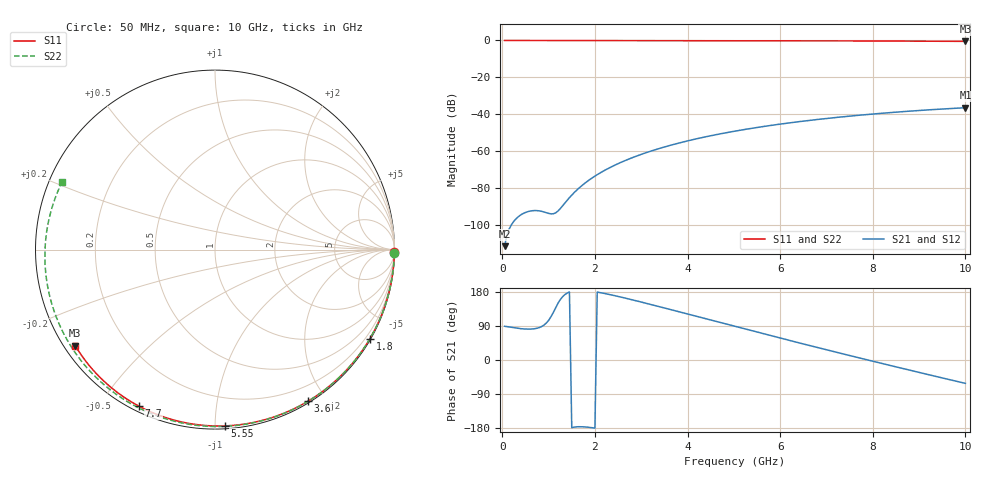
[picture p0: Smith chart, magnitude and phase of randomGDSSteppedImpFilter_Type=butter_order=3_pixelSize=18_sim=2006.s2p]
! freq	dB(S11)	phase(S11)	dB(S12)	phase(S12)
!  dB(S21)	phase(S21)	dB(S22)	phase(S22)
!S-par simulation data
#  GHz  S  DB  R 50
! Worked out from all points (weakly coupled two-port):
!   200 points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, 50 MHz to 10 GHz, reference 50 ohm
!   highest |S21| = -36.49 dB at 10 GHz (marker M1); lowest = -111.6 dB at 50 MHz (marker M2)
!   lowest |S11| = -0.5 dB at 10 GHz (marker M3), VSWR 35.31, Z = 1.55 - j15.5 ohm
!   |S11| at or under -10 dB: nowhere
!   |S22| runs from -0.6 to 0.0 dB; largest |S21 - S12| = 0
!   S11 on the Smith chart (normalised r, x): 50 MHz: open; 1.8 GHz: 0.03, -3.74; 3.6 GHz: 0.02, -1.79; 5.55 GHz: 0.02, -1.06; 7.7 GHz: 0.02, -0.63; 10 GHz: 0.03, -0.31
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0.05  -0.00 -0.9  -111.57 89.1  -111.57 89.1  -0.00 -1.2
0.4  -0.01 -6.7  -94.59 82.6  -94.59 82.6  -0.01 -9.4
0.8  -0.02 -13.4  -92.44 85.6  -92.44 85.6  -0.02 -18.7
1.2  -0.03 -20.1  -92.57 149.1  -92.57 149.1  -0.04 -28.0
1.65  -0.03 -27.5  -80.19 -176.1  -80.19 -176.1  -0.05 -38.2
1.75  -0.04 -29.1  -78.06 -176.3  -78.06 -176.3  -0.05 -40.5
1.8  -0.04 -29.9  -77.08 -176.7  -77.08 -176.7  -0.05 -41.6
2.1  -0.04 -34.8  -72.02 178.1  -72.02 178.1  -0.06 -48.2
2.5  -0.05 -41.2  -66.82 167.8  -66.82 167.8  -0.07 -57.0
2.9  -0.06 -47.5  -62.69 156.0  -62.69 156.0  -0.08 -65.6
3.4  -0.07 -55.3  -58.51 140.4  -58.51 140.4  -0.10 -76.0
3.6  -0.08 -58.4  -57.06 134.1  -57.06 134.1  -0.11 -80.1
4.3  -0.10 -68.9  -52.74 111.8  -52.74 111.8  -0.13 -94.2
5.05  -0.12 -79.8  -49.06 87.8  -49.06 87.8  -0.16 -108.7
5.55  -0.14 -86.9  -47.01 72.0  -47.01 72.0  -0.19 -118.1
6.1  -0.17 -94.5  -45.03 54.8  -45.03 54.8  -0.22 -128.4
6.7  -0.20 -102.7  -43.16 36.2  -43.16 36.2  -0.27 -139.4
7.2  -0.23 -109.3  -41.79 20.9  -41.79 20.9  -0.31 -148.6
7.7  -0.27 -115.9  -40.57 5.8  -40.57 5.8  -0.35 -157.9
8.35  -0.32 -124.3  -39.17 -13.6  -39.17 -13.6  -0.42 -170.2
9.2  -0.40 -135.2  -37.65 -38.6  -37.65 -38.6  -0.51 173.1
10  -0.49 -145.5  -36.49 -61.7  -36.49 -61.7  -0.62 156.3
